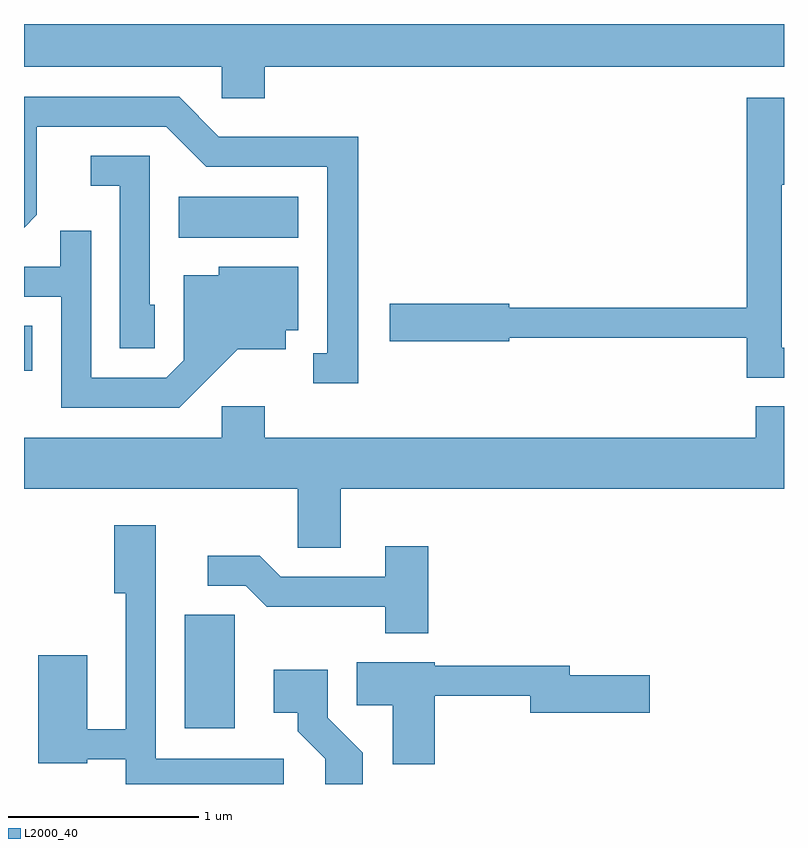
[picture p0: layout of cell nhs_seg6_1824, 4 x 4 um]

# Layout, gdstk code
import gdstk
lib = gdstk.Library(unit=1e-6, precision=1e-09)
def R(c, l, rs):  # rectangles x0, y0, x1, y1
    for r in rs: c.add(gdstk.rectangle(r[:2], r[2:], *l))
def P(c, l, *ps):  # polygons
    for p in ps: c.add(gdstk.Polygon(p, *l))
L2000_40 = (2000, 40)

nhs_seg6_1824 = lib.new_cell('nhs_seg6_1824')
R(nhs_seg6_1824, L2000_40, [(240.456,1646.456,240.719,1647.054), (239.611,1648.338,239.654,1648.574), (240.426,1649.036,241.054,1649.254)])
P(nhs_seg6_1824, L2000_40, [(240.879,1649.936),(243.611,1649.936),(243.611,1650.162),(239.611,1650.162),(239.611,1649.936),(240.651,1649.936),(240.651,1649.771),(240.879,1649.771)],
  [(241.369,1649.569),(240.637,1649.569),(240.427,1649.779),(239.611,1649.779),(239.611,1649.09),(239.679,1649.159),(239.679,1649.621),(240.359,1649.621),(240.569,1649.411),(241.206,1649.411),(241.206,1648.429),(241.133,1648.429),(241.133,1648.271),(241.369,1648.271)],
  [(243.611,1648.459),(243.599,1648.459),(243.599,1649.316),(243.611,1649.316),(243.611,1649.774),(243.416,1649.774),(243.416,1648.669),(242.164,1648.669),(242.164,1648.689),(241.536,1648.689),(241.536,1648.491),(242.164,1648.491),(242.164,1648.511),(243.416,1648.511),(243.416,1648.301),(243.611,1648.301)],
  [(240.299,1648.684),(240.274,1648.684),(240.274,1649.469),(239.963,1649.469),(239.963,1649.311),(240.116,1649.311),(240.116,1648.456),(240.299,1648.456)],
  [(240.737,1648.451),(240.989,1648.451),(240.989,1648.551),(241.054,1648.551),(241.054,1648.884),(240.636,1648.884),(240.636,1648.839),(240.451,1648.839),(240.451,1648.392),(240.359,1648.299),(239.964,1648.299),(239.964,1649.073),(239.801,1649.073),(239.801,1648.884),(239.611,1648.884),(239.611,1648.726),(239.806,1648.726),(239.806,1648.141),(240.427,1648.141)],
  [(241.279,1647.716),(243.611,1647.716),(243.611,1648.149),(243.461,1648.149),(243.461,1647.984),(240.879,1647.984),(240.879,1648.149),(240.651,1648.149),(240.651,1647.984),(239.611,1647.984),(239.611,1647.716),(241.051,1647.716),(241.051,1647.406),(241.279,1647.406)],
  [(240.978,1646.294),(240.304,1646.294),(240.304,1647.524),(240.086,1647.524),(240.086,1647.166),(240.146,1647.166),(240.146,1646.449),(239.944,1646.449),(239.944,1646.839),(239.686,1646.839),(239.686,1646.271),(239.944,1646.271),(239.944,1646.291),(240.146,1646.291),(240.146,1646.162),(240.978,1646.162)],
  [(241.739,1647.414),(241.511,1647.414),(241.511,1647.254),(240.962,1647.254),(240.852,1647.364),(240.578,1647.364),(240.578,1647.206),(240.779,1647.206),(240.889,1647.096),(241.511,1647.096),(241.511,1646.956),(241.739,1646.956)],
  [(241.774,1646.626),(242.276,1646.626),(242.276,1646.536),(242.904,1646.536),(242.904,1646.734),(242.484,1646.734),(242.484,1646.784),(241.774,1646.784),(241.774,1646.804),(241.361,1646.804),(241.361,1646.576),(241.551,1646.576),(241.551,1646.266),(241.774,1646.266)],
  [(241.394,1646.327),(241.209,1646.512),(241.209,1646.764),(240.926,1646.764),(240.926,1646.536),(241.051,1646.536),(241.051,1646.439),(241.196,1646.294),(241.196,1646.162),(241.394,1646.162)])

lib.write_gds('nhs_seg6_1824.gds')
